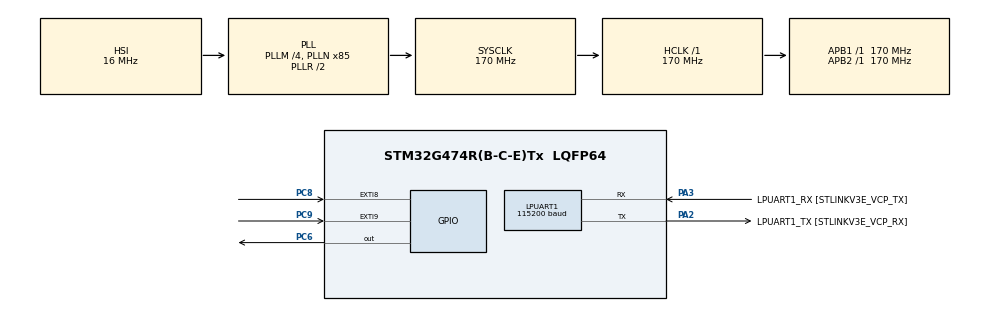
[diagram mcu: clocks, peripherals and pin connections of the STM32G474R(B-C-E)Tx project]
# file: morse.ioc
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LPUART1.BaudRate=115200
Mcu.Family=STM32G4
Mcu.Name=STM32G474R(B-C-E)Tx
Mcu.Package=LQFP64
NVIC.EXTI9_5_IRQn=true\:0\:0\:true\:false\:true\:true\:true\:true
NVIC.LPUART1_IRQn=true\:0\:0\:false\:false\:true\:true\:true\:true
NVIC.PriorityGroup=NVIC_PRIORITYGROUP_4
NVIC.TIM6_DAC_IRQn=true\:0\:0\:false\:false\:true\:true\:true\:true
PA13.GPIO_Label=T_SWDIO
PA13.Signal=SYS_JTMS-SWDIO
PA14.GPIO_Label=T_SWCLK
PA14.Signal=SYS_JTCK-SWCLK
PA2.GPIO_Label=LPUART1_TX [STLINKV3E_VCP_RX]
PA2.Mode=Asynchronous
PA2.Signal=LPUART1_TX
PA3.GPIO_Label=LPUART1_RX [STLINKV3E_VCP_TX]
PA3.Mode=Asynchronous
PA3.Signal=LPUART1_RX
PB3.GPIO_Label=T_SWO
PB3.Signal=SYS_JTDO-SWO
PC14-OSC32_IN.GPIO_Label=RCC_OSC32_IN
PC14-OSC32_IN.Signal=RCC_OSC32_IN
PC15-OSC32_OUT.GPIO_Label=RCC_OSC32_OUT
PC15-OSC32_OUT.Signal=RCC_OSC32_OUT
PC6.Signal=GPIO_Output
PC8.GPIO_ModeDefaultEXTI=GPIO_MODE_IT_RISING_FALLING
PC8.GPIO_PuPd=GPIO_PULLUP
PC8.Signal=GPXTI8
PC9.GPIO_ModeDefaultEXTI=GPIO_MODE_IT_RISING_FALLING
PC9.GPIO_PuPd=GPIO_PULLUP
PC9.Signal=GPXTI9
PF0-OSC_IN.GPIO_Label=RCC_OSC_IN
PF0-OSC_IN.Signal=RCC_OSC_IN
PF1-OSC_OUT.GPIO_Label=RCC_OSC_OUT
PF1-OSC_OUT.Signal=RCC_OSC_OUT
ProjectManager.HeapSize=0x200
ProjectManager.StackSize=0x400
ProjectManager.TargetToolchain=STM32CubeIDE
RCC.ADC12Freq_Value=170000000
RCC.ADC345Freq_Value=170000000
RCC.AHBFreq_Value=170000000
RCC.APB1Freq_Value=170000000
RCC.APB1TimFreq_Value=170000000
RCC.APB2Freq_Value=170000000
RCC.APB2TimFreq_Value=170000000
RCC.CortexFreq_Value=170000000
RCC.EXTERNAL_CLOCK_VALUE=12288000
RCC.HCLKFreq_Value=170000000
RCC.HSE_VALUE=24000000
RCC.HSI48_VALUE=48000000
RCC.HSI_VALUE=16000000
RCC.LSE_VALUE=32768
RCC.PLLM=RCC_PLLM_DIV4
RCC.PLLN=85
RCC.RTCClockSelection=RCC_RTCCLKSOURCE_LSE
RCC.SYSCLKFreq_VALUE=170000000
RCC.SYSCLKSource=RCC_SYSCLKSOURCE_PLLCLK
RCC.USBFreq_Value=170000000
RCC.VCOOutputFreq_Value=340000000
TIM6.PeriodNoDither=999
TIM6.Prescaler=169
VP_SYS_VS_DBSignals.Mode=DisableDeadBatterySignals
VP_TIM6_VS_ClockSourceINT.Mode=Enable_Timer
board=NUCLEO-G474RE

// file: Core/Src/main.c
/* USER CODE BEGIN Header */
/**
  ******************************************************************************
  * @file           : main.c
  * @brief          : 摩斯電碼收發器 (NUCLEO-G474RE, STM32CubeMX + HAL)
  *
  *  PC8 : 摩斯按鍵 (按下為低電位)
  *  PC9 : 發送按鈕 (按下為低電位)
  *  PC6 : LED
  *  LPUART1 (PA2/PA3) : ST-LINK 虛擬串口 115200 8N1
  *  TIM6 : 1ms 中斷 -> ms_tick
  ******************************************************************************
  */
/* USER CODE END Header */

#include "main.h"

/* USER CODE BEGIN Includes */
#include <stdio.h>
#include <string.h>
#include <stdarg.h>
#include <stdint.h>
/* USER CODE END Includes */

UART_HandleTypeDef hlpuart1;
TIM_HandleTypeDef  htim6;

/* USER CODE BEGIN PTD */
/* ---- 按鍵事件 ---- */
typedef enum { BTN_NONE = 0, BTN_PRESS, BTN_RELEASE } BtnEvt_t;

/* ---- 每個按鍵獨立的防彈跳資料 ---- */
typedef struct
{
    /* 以下三個欄位會被 ISR 與主迴圈共用 */
    volatile uint8_t  pending;      /* ISR 設 1:有邊緣尚待確認                   */
    volatile uint32_t first_tick;   /* 這一串邊緣中「第一個」邊緣的時間            */
    volatile uint32_t last_tick;    /* 這一串邊緣中「最後一個」邊緣的時間          */
    /* 以下只有主迴圈使用 */
    uint8_t           stable_pressed; /* 已確認的穩定狀態 (1 = 按下)              */
} Btn_t;

/* ---- LED 播放事件表 ---- */
typedef struct
{
    uint8_t  on;    /* 1 = LED 亮, 0 = LED 滅 */
    uint16_t ms;    /* 持續時間 (ms)          */
} LedEvent_t;
/* USER CODE END PTD */

/* USER CODE BEGIN PD */
/* ============================ 時間參數 (集中放) ============================ */
#define DEBOUNCE_MS         20U     /* 防彈跳時間                                */
#define DASH_MS             250U    /* 按壓 >= 此值為「劃」, 否則為「點」        */
#define LETTER_GAP_MS       600U    /* 放開超過此時間 -> 一個字母結束            */
#define WORD_GAP_MS         1500U   /* 放開超過此時間 -> 插入空格                */
#define UNIT_MS             200U    /* LED 播放的 1 個單位                       */

/* LED 播放時間 (以單位數表示) */
#define DOT_UNITS           1U
#define DASH_UNITS          3U
#define SYMBOL_GAP_UNITS    1U      /* 符號間隔 */
#define LETTER_GAP_UNITS    3U      /* 字母間隔 */
#define WORD_GAP_UNITS      7U      /* 單字間隔 */

/* ============================ 其他設定 ============================ */
#define MSG_MAX_LEN         64U     /* msg 緩衝最大字元數                        */
#define MAX_SYMS            7U      /* 單一字母最多記錄的符號數 (超過視為 '?')   */
#define RX_LINE_MAX         64U     /* UART 一行文字最大長度                     */
#define RX_RING_SIZE        128U    /* UART 接收環形緩衝大小                     */
#define EVT_MAX             700U    /* 事件表容量 (64 字 x 每字最多 10 事件)     */

/* ============================ 腳位定義 ============================ */
#define MORSE_LED_PORT      GPIOC
#define MORSE_LED_PIN       GPIO_PIN_6
#define KEY_MORSE_PORT      GPIOC
#define KEY_MORSE_PIN       GPIO_PIN_8
#define KEY_SEND_PORT       GPIOC
#define KEY_SEND_PIN        GPIO_PIN_9

#define LED_ON()            HAL_GPIO_WritePin(MORSE_LED_PORT, MORSE_LED_PIN, GPIO_PIN_SET)
#define LED_OFF()           HAL_GPIO_WritePin(MORSE_LED_PORT, MORSE_LED_PIN, GPIO_PIN_RESET)
/* USER CODE END PD */

void SystemClock_Config(void);
static void MX_GPIO_Init(void);
static void MX_LPUART1_UART_Init(void);
static void MX_TIM6_Init(void);

/* USER CODE BEGIN PV */
/* ---------------------------- ISR 共用資料 ---------------------------- */
volatile uint32_t ms_tick = 0;                 /* 全域毫秒計數 (TIM6 每 1ms +1)  */

static Btn_t btn_morse;                        /* PC8 */
static Btn_t btn_send;                         /* PC9 */

static uint8_t           rx_byte;              /* HAL_UART_Receive_IT 的 1 byte  */
static volatile uint8_t  rx_ring[RX_RING_SIZE];
static volatile uint16_t rx_head = 0;          /* ISR 寫入                       */
static volatile uint16_t rx_tail = 0;          /* 主迴圈讀取                     */
static volatile uint8_t  uart_err_flag = 0;    /* UART 錯誤旗標 (ISR 設, 主迴圈印) */

/* ---------------------------- 只有主迴圈使用 ---------------------------- */
/* 摩斯輸入 */
static uint8_t  key_down      = 0;             /* PC8 目前是否按著               */
static uint32_t press_tick    = 0;             /* 按下的時間                     */
static uint32_t release_tick  = 0;             /* 放開的時間                     */
static uint8_t  have_release  = 0;             /* 1 = 放開後的計時有效           */
static char     sym_buf[MAX_SYMS + 1];         /* 目前累積的 '.' '-'             */
static uint8_t  sym_len       = 0;
static uint8_t  sym_overflow  = 0;
static char     msg[MSG_MAX_LEN + 1];          /* 已解碼的訊息                   */
static uint8_t  msg_len       = 0;

/* LED 播放 */
static LedEvent_t ev_tbl[EVT_MAX];
static uint16_t   ev_count    = 0;
static uint16_t   ev_idx      = 0;
static uint32_t   ev_deadline = 0;
static uint8_t    playing     = 0;

/* UART 行組合 */
static char     rx_line[RX_LINE_MAX + 1];
static uint8_t  rx_line_len   = 0;

/* 摩斯電碼表 (A-Z, 0-9) */
static const struct { char ch; const char *code; } morse_table[] =
{
    {'A', ".-"},    {'B', "-..."},  {'C', "-.-."},  {'D', "-.."},   {'E', "."},
    {'F', "..-."},  {'G', "--."},   {'H', "...."},  {'I', ".."},    {'J', ".---"},
    {'K', "-.-"},   {'L', ".-.."},  {'M', "--"},    {'N', "-."},    {'O', "---"},
    {'P', ".--."},  {'Q', "--.-"},  {'R', ".-."},   {'S', "..."},   {'T', "-"},
    {'U', "..-"},   {'V', "...-"},  {'W', ".--"},   {'X', "-..-"},  {'Y', "-.--"},
    {'Z', "--.."},
    {'0', "-----"}, {'1', ".----"}, {'2', "..---"}, {'3', "...--"}, {'4', "....-"},
    {'5', "....."}, {'6', "-...."}, {'7', "--..."}, {'8', "---.."}, {'9', "----."}
};
#define MORSE_TABLE_SIZE  (sizeof(morse_table) / sizeof(morse_table[0]))
/* USER CODE END PV */

/* USER CODE BEGIN PFP */
void Morse_Init(void);
void Morse_Process(void);
/* USER CODE END PFP */

int main(void)
{
    HAL_Init();
    SystemClock_Config();

    MX_GPIO_Init();
    MX_LPUART1_UART_Init();
    MX_TIM6_Init();

    /* USER CODE BEGIN 2 */
    Morse_Init();
    /* USER CODE END 2 */

    while (1)
    {
        /* USER CODE BEGIN 3 */
        Morse_Process();
        /* USER CODE END 3 */
    }
}

void SystemClock_Config(void)
{
    RCC_OscInitTypeDef RCC_OscInitStruct = {0};
    RCC_ClkInitTypeDef RCC_ClkInitStruct = {0};

    /* 電壓 Scale1 Boost */
    HAL_PWREx_ControlVoltageScaling(PWR_REGULATOR_VOLTAGE_SCALE1_BOOST);

    RCC_OscInitStruct.OscillatorType      = RCC_OSCILLATORTYPE_HSI;
    RCC_OscInitStruct.HSIState            = RCC_HSI_ON;
    RCC_OscInitStruct.HSICalibrationValue = RCC_HSICALIBRATION_DEFAULT;
    RCC_OscInitStruct.PLL.PLLState        = RCC_PLL_ON;
    RCC_OscInitStruct.PLL.PLLSource       = RCC_PLLSOURCE_HSI;
    RCC_OscInitStruct.PLL.PLLM            = RCC_PLLM_DIV4;
    RCC_OscInitStruct.PLL.PLLN            = 85;
    RCC_OscInitStruct.PLL.PLLP            = RCC_PLLP_DIV2;
    RCC_OscInitStruct.PLL.PLLQ            = RCC_PLLQ_DIV2;
    RCC_OscInitStruct.PLL.PLLR            = RCC_PLLR_DIV2;
    if (HAL_RCC_OscConfig(&RCC_OscInitStruct) != HAL_OK)
    {
        Error_Handler();
    }

    RCC_ClkInitStruct.ClockType      = RCC_CLOCKTYPE_HCLK | RCC_CLOCKTYPE_SYSCLK
                                     | RCC_CLOCKTYPE_PCLK1 | RCC_CLOCKTYPE_PCLK2;
    RCC_ClkInitStruct.SYSCLKSource   = RCC_SYSCLKSOURCE_PLLCLK;
    RCC_ClkInitStruct.AHBCLKDivider  = RCC_SYSCLK_DIV1;
    RCC_ClkInitStruct.APB1CLKDivider = RCC_HCLK_DIV1;
    RCC_ClkInitStruct.APB2CLKDivider = RCC_HCLK_DIV1;
    if (HAL_RCC_ClockConfig(&RCC_ClkInitStruct, FLASH_LATENCY_4) != HAL_OK)
    {
        Error_Handler();
    }
}

/**
  * @brief LPUART1 Initialization: 115200, 8N1, 無流控, 關閉 FIFO
  */
static void MX_LPUART1_UART_Init(void)
{
    hlpuart1.Instance                    = LPUART1;
    hlpuart1.Init.BaudRate               = 115200;
    hlpuart1.Init.WordLength             = UART_WORDLENGTH_8B;
    hlpuart1.Init.StopBits               = UART_STOPBITS_1;
    hlpuart1.Init.Parity                 = UART_PARITY_NONE;
    hlpuart1.Init.Mode                   = UART_MODE_TX_RX;
    hlpuart1.Init.HwFlowCtl              = UART_HWCONTROL_NONE;
    hlpuart1.Init.OneBitSampling         = UART_ONE_BIT_SAMPLE_DISABLE;
    hlpuart1.Init.ClockPrescaler         = UART_PRESCALER_DIV1;
    hlpuart1.AdvancedInit.AdvFeatureInit = UART_ADVFEATURE_NO_INIT;
    if (HAL_UART_Init(&hlpuart1) != HAL_OK)
    {
        Error_Handler();
    }
    if (HAL_UARTEx_SetTxFifoThreshold(&hlpuart1, UART_TXFIFO_THRESHOLD_1_8) != HAL_OK)
    {
        Error_Handler();
    }
    if (HAL_UARTEx_SetRxFifoThreshold(&hlpuart1, UART_RXFIFO_THRESHOLD_1_8) != HAL_OK)
    {
        Error_Handler();
    }
    if (HAL_UARTEx_DisableFifoMode(&hlpuart1) != HAL_OK)    /* 關閉 FIFO */
    {
        Error_Handler();
    }
}

/**
  * @brief TIM6 Initialization: 170MHz / 170 / 1000 = 1kHz (1ms)
  */
static void MX_TIM6_Init(void)
{
    TIM_MasterConfigTypeDef sMasterConfig = {0};

    htim6.Instance               = TIM6;
    htim6.Init.Prescaler         = 169;
    htim6.Init.CounterMode       = TIM_COUNTERMODE_UP;
    htim6.Init.Period            = 999;
    htim6.Init.AutoReloadPreload = TIM_AUTORELOAD_PRELOAD_DISABLE;
    if (HAL_TIM_Base_Init(&htim6) != HAL_OK)
    {
        Error_Handler();
    }
    sMasterConfig.MasterOutputTrigger = TIM_TRGO_RESET;
    sMasterConfig.MasterSlaveMode     = TIM_MASTERSLAVEMODE_DISABLE;
    if (HAL_TIMEx_MasterConfigSynchronization(&htim6, &sMasterConfig) != HAL_OK)
    {
        Error_Handler();
    }
}

/**
  * @brief GPIO Initialization
  *        PC6 : 推挽輸出 (LED)
  *        PC8 / PC9 : 雙緣觸發外部中斷 + 內部上拉
  */
static void MX_GPIO_Init(void)
{
    GPIO_InitTypeDef GPIO_InitStruct = {0};

    __HAL_RCC_GPIOC_CLK_ENABLE();
    __HAL_RCC_GPIOA_CLK_ENABLE();

    HAL_GPIO_WritePin(GPIOC, GPIO_PIN_6, GPIO_PIN_RESET);

    GPIO_InitStruct.Pin   = GPIO_PIN_6;
    GPIO_InitStruct.Mode  = GPIO_MODE_OUTPUT_PP;
    GPIO_InitStruct.Pull  = GPIO_NOPULL;
    GPIO_InitStruct.Speed = GPIO_SPEED_FREQ_LOW;
    HAL_GPIO_Init(GPIOC, &GPIO_InitStruct);

    GPIO_InitStruct.Pin  = GPIO_PIN_8 | GPIO_PIN_9;
    GPIO_InitStruct.Mode = GPIO_MODE_IT_RISING_FALLING;
    GPIO_InitStruct.Pull = GPIO_PULLUP;
    HAL_GPIO_Init(GPIOC, &GPIO_InitStruct);

    /* EXTI9_5 中斷優先權 0 */
    HAL_NVIC_SetPriority(EXTI9_5_IRQn, 0, 0);
    HAL_NVIC_EnableIRQ(EXTI9_5_IRQn);
}

/* USER CODE BEGIN 4 */

/* ========================================================================== */
/*                               工具函式                                      */
/* ========================================================================== */

/* 以關中斷保護的方式讀取 ms_tick */
static uint32_t Tick_Now(void)
{
    uint32_t t;
    __disable_irq();
    t = ms_tick;
    __enable_irq();
    return t;
}

/* UART 輸出字串 (阻塞式; 絕對不可在 ISR 內呼叫) */
static void uart_print(const char *s)
{
    HAL_UART_Transmit(&hlpuart1, (uint8_t *)s, (uint16_t)strlen(s), 200);
}

/* 格式化輸出 (絕對不可在 ISR 內呼叫) */
static void uart_printf(const char *fmt, ...)
{
    char    buf[128];
    va_list ap;

    va_start(ap, fmt);
    vsnprintf(buf, sizeof(buf), fmt, ap);
    va_end(ap);
    uart_print(buf);
}

/* ========================================================================== */
/*                          摩斯編碼 / 解碼                                    */
/* ========================================================================== */

/* 符號字串 (如 ".-") -> 字元, 查不到回傳 '?' */
static char Morse_Decode(const char *code)
{
    for (uint32_t i = 0; i < MORSE_TABLE_SIZE; i++)
    {
        if (strcmp(morse_table[i].code, code) == 0)
        {
            return morse_table[i].ch;
        }
    }
    return '?';
}

/* 字元 -> 符號字串, 不支援的字元回傳 NULL (小寫自動轉大寫) */
static const char *Morse_Encode(char c)
{
    if (c >= 'a' && c <= 'z')
    {
        c = (char)(c - 'a' + 'A');
    }
    for (uint32_t i = 0; i < MORSE_TABLE_SIZE; i++)
    {
        if (morse_table[i].ch == c)
        {
            return morse_table[i].code;
        }
    }
    return NULL;
}

/* ========================================================================== */
/*                       LED 播放 (非阻塞, 事件表)                              */
/* ========================================================================== */

/* 在事件表尾端加入一個事件 */
static void Ev_Add(uint8_t on, uint16_t units)
{
    if (ev_count < EVT_MAX)
    {
        ev_tbl[ev_count].on = on;
        ev_tbl[ev_count].ms = (uint16_t)(units * UNIT_MS);
        ev_count++;
    }
}

/* 把文字轉成 LED 事件表
 * 規則: 點 1、劃 3、符號間隔 1、字母間隔 3、單字間隔 7 (單位)
 * 不支援的字元略過; 前後的空格略過; 連續空格視為一個單字間隔 */
static void Morse_BuildEvents(const char *text)
{
    uint8_t first_char = 1;
    uint8_t gap_units  = LETTER_GAP_UNITS;

    ev_count = 0;
    for (const char *p = text; *p != '\0'; p++)
    {
        if (*p == ' ')
        {
            if (!first_char)
            {
                gap_units = WORD_GAP_UNITS;
            }
            continue;
        }

        const char *code = Morse_Encode(*p);
        if (code == NULL)
        {
            continue;
        }

        if (!first_char)
        {
            Ev_Add(0, gap_units);               /* 字母間隔或單字間隔 */
        }
        first_char = 0;
        gap_units  = LETTER_GAP_UNITS;

        for (const char *q = code; *q != '\0'; q++)
        {
            if (q != code)
            {
                Ev_Add(0, SYMBOL_GAP_UNITS);    /* 符號間隔 */
            }
            Ev_Add(1, (*q == '.') ? DOT_UNITS : DASH_UNITS);
        }
    }
}

/* 開始播放 (呼叫前須確認 playing == 0) */
static void Play_Start(const char *text)
{
    Morse_BuildEvents(text);
    if (ev_count == 0)
    {
        uart_print("[LED] nothing to play\r\n");
        return;
    }

    ev_idx = 0;
    if (ev_tbl[0].on) { LED_ON(); } else { LED_OFF(); }
    ev_deadline  = Tick_Now() + ev_tbl[0].ms;
    have_release = 0;           /* 播放期間不做輸入計時 */
    playing      = 1;
}

/* 在主迴圈中推進播放狀態 */
static void Play_Process(void)
{
    if (!playing)
    {
        return;
    }
    if ((int32_t)(Tick_Now() - ev_deadline) < 0)    /* 還沒到時間 */
    {
        return;
    }

    ev_idx++;
    if (ev_idx >= ev_count)                         /* 全部播完 */
    {
        LED_OFF();
        playing = 0;
        uart_print("[LED] done\r\n");
        return;
    }

    if (ev_tbl[ev_idx].on) { LED_ON(); } else { LED_OFF(); }
    ev_deadline += ev_tbl[ev_idx].ms;               /* 用累加避免時間漂移 */
}

/* ========================================================================== */
/*                         按鍵 (ISR 端 + 主迴圈端)                            */
/* ========================================================================== */

/* ISR 端: 只記錄「有邊緣」與時間, 不做任何耗時動作 */
static void Btn_Edge(Btn_t *b)
{
    uint32_t now = ms_tick;
    if (!b->pending)
    {
        b->first_tick = now;        /* 這串邊緣的第一個時間 (按壓時間以此計算) */
        b->pending    = 1;
    }
    b->last_tick = now;             /* 每個邊緣都更新, 用來判斷彈跳是否已平息 */
}

/* 主迴圈端: 邊緣平息超過 DEBOUNCE_MS 後, 讀取腳位確認真正狀態
 * 回傳 BTN_PRESS / BTN_RELEASE 時, *t_out 為該動作的起始時間 */
static BtnEvt_t Btn_Poll(Btn_t *b, GPIO_TypeDef *port, uint16_t pin, uint32_t *t_out)
{
    uint8_t  pend;
    uint32_t first, last;

    __disable_irq();
    pend  = b->pending;
    first = b->first_tick;
    last  = b->last_tick;
    __enable_irq();

    if (!pend)
    {
        return BTN_NONE;
    }
    if ((uint32_t)(Tick_Now() - last) < DEBOUNCE_MS)    /* 還在彈跳中 */
    {
        return BTN_NONE;
    }

    __disable_irq();
    if (b->last_tick != last)       /* 剛好又有新邊緣進來, 下一輪再處理 */
    {
        __enable_irq();
        return BTN_NONE;
    }
    b->pending = 0;
    __enable_irq();

    uint8_t pressed = (HAL_GPIO_ReadPin(port, pin) == GPIO_PIN_RESET) ? 1 : 0;
    if (pressed == b->stable_pressed)   /* 只是雜訊, 狀態沒變 */
    {
        return BTN_NONE;
    }

    b->stable_pressed = pressed;
    *t_out = first;
    return pressed ? BTN_PRESS : BTN_RELEASE;
}

/* 下降緣 = 按下 */
void HAL_GPIO_EXTI_Falling_Callback(uint16_t GPIO_Pin)
{
    if (GPIO_Pin == KEY_MORSE_PIN)      { Btn_Edge(&btn_morse); }
    else if (GPIO_Pin == KEY_SEND_PIN)  { Btn_Edge(&btn_send);  }
}

/* 上升緣 = 放開 */
void HAL_GPIO_EXTI_Rising_Callback(uint16_t GPIO_Pin)
{
    if (GPIO_Pin == KEY_MORSE_PIN)      { Btn_Edge(&btn_morse); }
    else if (GPIO_Pin == KEY_SEND_PIN)  { Btn_Edge(&btn_send);  }
}

/* 相容舊版 CubeG4 韌體包: 舊版 HAL_GPIO_EXTI_IRQHandler 只會呼叫這個通用回呼,
 * 不會呼叫上面的 Rising / Falling 版本 (新版則相反, 兩者不會同時被呼叫) */
void HAL_GPIO_EXTI_Callback(uint16_t GPIO_Pin)
{
    if (GPIO_Pin == KEY_MORSE_PIN)      { Btn_Edge(&btn_morse); }
    else if (GPIO_Pin == KEY_SEND_PIN)  { Btn_Edge(&btn_send);  }
}

/* ========================================================================== */
/*                           TIM6 / UART 回呼 (ISR)                            */
/* ========================================================================== */

void HAL_TIM_PeriodElapsedCallback(TIM_HandleTypeDef *htim)
{
    if (htim->Instance == TIM6)
    {
        ms_tick++;
    }
    /* 若 HAL 時基仍使用 SysTick, HAL_IncTick 由 SysTick_Handler 處理, 這裡不需動作 */
}

/* 收到 1 byte: 放進環形緩衝, 並重新啟動接收 */
void HAL_UART_RxCpltCallback(UART_HandleTypeDef *huart)
{
    if (huart->Instance == LPUART1)
    {
        uint16_t next = (uint16_t)((rx_head + 1U) % RX_RING_SIZE);
        if (next != rx_tail)                /* 緩衝未滿才存, 滿了就丟棄 */
        {
            rx_ring[rx_head] = rx_byte;
            rx_head = next;
        }
        HAL_UART_Receive_IT(&hlpuart1, &rx_byte, 1);
    }
}

/* UART 錯誤 (如 Overrun): 清旗標並重新開啟接收 */
void HAL_UART_ErrorCallback(UART_HandleTypeDef *huart)
{
    if (huart->Instance == LPUART1)
    {
        __HAL_UART_CLEAR_FLAG(huart, UART_CLEAR_OREF | UART_CLEAR_NEF |
                                     UART_CLEAR_PEF  | UART_CLEAR_FEF);
        HAL_UART_AbortReceive(huart);               /* 確保接收狀態回到 READY */
        HAL_UART_Receive_IT(huart, &rx_byte, 1);    /* 重新開啟接收 */
        uart_err_flag = 1;                          /* 讓主迴圈印出訊息 */
    }
}

/* ========================================================================== */
/*                              主迴圈邏輯                                     */
/* ========================================================================== */

/* 是否正在輸入中: 按鍵按著, 或字母尚未結束 */
static uint8_t Input_Busy(void)
{
    return (key_down || sym_len > 0) ? 1 : 0;
}

/* 從環形緩衝取出 1 byte (關中斷保護), 無資料回傳 0 */
static uint8_t Rx_Pop(uint8_t *b)
{
    __disable_irq();
    if (rx_head == rx_tail)
    {
        __enable_irq();
        return 0;
    }
    *b = rx_ring[rx_tail];
    rx_tail = (uint16_t)((rx_tail + 1U) % RX_RING_SIZE);
    __enable_irq();
    return 1;
}

/* 收到完整一行文字 */
static void Rx_HandleLine(const char *line)
{
    uart_printf("[RX] %s\r\n", line);

    /* 播放中或輸入中不接受新的播放要求 (避免干擾) */
    if (playing || Input_Busy())
    {
        uart_print("busy\r\n");
        return;
    }
    Play_Start(line);
}

/* 處理 UART 收到的資料: 組成一行 (\r 或 \n 結尾) */
static void Rx_Process(void)
{
    uint8_t b;

    if (uart_err_flag)
    {
        uart_err_flag = 0;
        uart_print("[UART] error, rx restarted\r\n");
    }

    while (Rx_Pop(&b))
    {
        if (b == '\r' || b == '\n')
        {
            if (rx_line_len > 0)            /* 空行 (例如 \r\n 的第二個字元) 忽略 */
            {
                rx_line[rx_line_len] = '\0';
                rx_line_len = 0;
                Rx_HandleLine(rx_line);
            }
        }
        else if (b >= 0x20 && b < 0x7F)     /* 只收可顯示字元; 超過長度的字元丟棄 */
        {
            if (rx_line_len < RX_LINE_MAX)
            {
                rx_line[rx_line_len++] = (char)b;
            }
        }
    }
}

/* 把目前累積的符號解碼, 加進 msg */
static void Letter_Commit(void)
{
    char c;

    sym_buf[sym_len] = '\0';
    c = sym_overflow ? '?' : Morse_Decode(sym_buf);

    if (msg_len < MSG_MAX_LEN)
    {
        msg[msg_len++] = c;
        msg[msg_len]   = '\0';
        uart_printf("letter: %s -> %c | msg: %s\r\n", sym_buf, c, msg);
    }
    else
    {
        uart_printf("letter: %s -> %c | msg full (%u), dropped\r\n",
                    sym_buf, c, (unsigned)MSG_MAX_LEN);
    }

    sym_len      = 0;
    sym_overflow = 0;
}

/* PC9 發送按鈕被按下 */
static void Send_Handle(void)
{
    if (playing || Input_Busy())
    {
        uart_print("busy\r\n");
        return;
    }
    if (msg_len == 0)
    {
        uart_print("(empty)\r\n");
        return;
    }

    /* 去掉尾端空格後再印出 / 播放 */
    while (msg_len > 0 && msg[msg_len - 1] == ' ')
    {
        msg_len--;
    }
    msg[msg_len] = '\0';

    if (msg_len == 0)
    {
        uart_print("(empty)\r\n");
        return;
    }

    uart_printf("[MSG] %s\r\n", msg);
    Play_Start(msg);                /* 事件表已複製完成, 之後即可清空 msg */

    msg_len = 0;
    msg[0]  = '\0';
}

/* PC8 摩斯按鍵事件處理 */
static void Key_Handle(BtnEvt_t evt, uint32_t t)
{
    if (playing)                    /* 播放中不接受按鍵輸入 */
    {
        return;
    }

    if (evt == BTN_PRESS)
    {
        key_down   = 1;
        press_tick = t;
        LED_ON();
    }
    else if (evt == BTN_RELEASE && key_down)
    {
        uint32_t dur = t - press_tick;
        char     sym = (dur >= DASH_MS) ? '-' : '.';

        key_down = 0;
        LED_OFF();

        if (sym_len < MAX_SYMS)
        {
            sym_buf[sym_len++] = sym;
        }
        else
        {
            sym_overflow = 1;       /* 符號太多, 最後解碼為 '?' */
        }

        uart_printf("press %lu ms -> %c\r\n", (unsigned long)dur, sym);

        release_tick = t;
        have_release = 1;
    }
}

/* 放開後的逾時判斷: 字母結束 (600ms) 與單字空格 (1500ms) */
static void Gap_Process(void)
{
    if (playing || key_down || !have_release)
    {
        return;
    }

    uint32_t idle = Tick_Now() - release_tick;

    if (sym_len > 0 && idle >= LETTER_GAP_MS)
    {
        Letter_Commit();
    }

    if (sym_len == 0 && idle >= WORD_GAP_MS)
    {
        /* 只在 msg 非空且尾端不是空格時才插入空格 */
        if (msg_len > 0 && msg_len < MSG_MAX_LEN && msg[msg_len - 1] != ' ')
        {
            msg[msg_len++] = ' ';
            msg[msg_len]   = '\0';
            uart_printf("space | msg: %s\r\n", msg);
        }
        have_release = 0;           /* 這次放開的計時結束 */
    }
}

/* ========================================================================== */
/*                           對外介面 (main 只呼叫這兩個)                        */
/* ========================================================================== */

void Morse_Init(void)
{
    /* 狀態初始化 */
    msg[0] = '\0';
    LED_OFF();

    btn_morse.pending        = 0;
    btn_morse.stable_pressed = (HAL_GPIO_ReadPin(KEY_MORSE_PORT, KEY_MORSE_PIN) == GPIO_PIN_RESET);
    btn_send.pending         = 0;
    btn_send.stable_pressed  = (HAL_GPIO_ReadPin(KEY_SEND_PORT, KEY_SEND_PIN) == GPIO_PIN_RESET);

    /* 啟動 1ms 計時中斷與 UART 中斷接收 */
    HAL_TIM_Base_Start_IT(&htim6);
    HAL_UART_Receive_IT(&hlpuart1, &rx_byte, 1);

    /* 開機訊息與操作說明 */
    uart_print("\r\n=== Morse transceiver ready ===\r\n");
    uart_print("PC8 key : press < 250ms = '.', >= 250ms = '-'\r\n");
    uart_print("          release > 600ms = letter end, > 1500ms = space\r\n");
    uart_print("PC9 btn : print msg and blink it on LED, then clear msg\r\n");
    uart_print("UART    : type a line + Enter -> print [RX] and blink it\r\n");
}

void Morse_Process(void)
{
    BtnEvt_t evt;
    uint32_t t = 0;

    /* 1. UART 收到的資料 */
    Rx_Process();

    /* 2. PC8 摩斯按鍵 (獨立 20ms 防彈跳) */
    evt = Btn_Poll(&btn_morse, KEY_MORSE_PORT, KEY_MORSE_PIN, &t);
    if (evt != BTN_NONE)
    {
        Key_Handle(evt, t);
    }

    /* 3. PC9 發送按鈕 (獨立 20ms 防彈跳), 只處理「按下」 */
    evt = Btn_Poll(&btn_send, KEY_SEND_PORT, KEY_SEND_PIN, &t);
    if (evt == BTN_PRESS)
    {
        Send_Handle();
    }

    /* 4. LED 非阻塞播放 */
    Play_Process();

    /* 5. 字母結束 / 空格 逾時判斷 */
    Gap_Process();
}

/* USER CODE END 4 */

void Error_Handler(void)
{
    __disable_irq();
    while (1)
    {
    }
}
